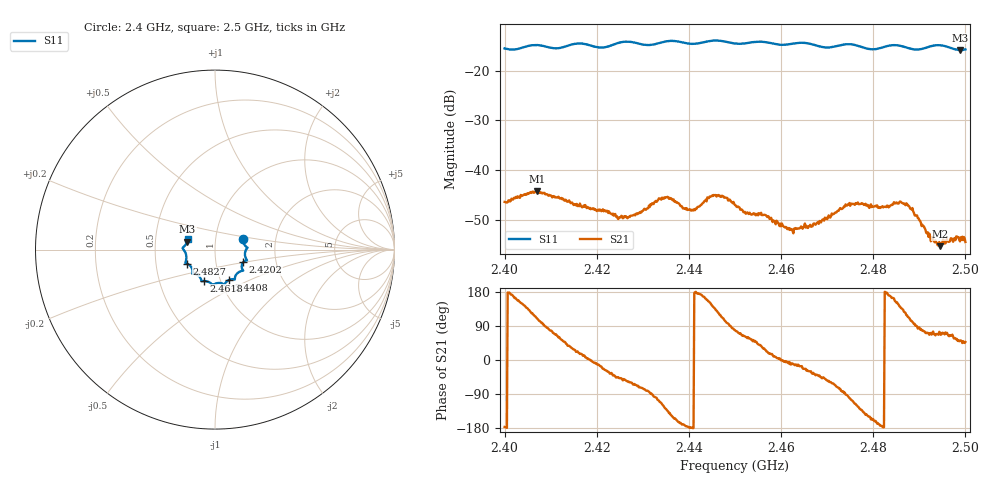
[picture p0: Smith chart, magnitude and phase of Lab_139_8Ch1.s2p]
# Hz S RI R 50
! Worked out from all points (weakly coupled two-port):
!   601 points, 2.4 GHz to 2.5 GHz, reference 50 ohm
!   highest |S21| = -44.32 dB at 2.407 GHz (marker M1); lowest = -55.4 dB at 2.4945 GHz (marker M2)
!   lowest |S11| = -15.8 dB at 2.4988 GHz (marker M3), VSWR 1.38, Z = 36.4 + j3.34 ohm
!   |S11| at or under -10 dB: start of sweep to end of sweep
!   S12 and S22 are empty: the file has one direction only
!   S11 on the Smith chart (normalised r, x): 2.4 GHz: 1.36, +0.17; 2.4202 GHz: 1.36, -0.20; 2.4408 GHz: 1.10, -0.39; 2.4618 GHz: 0.84, -0.30; 2.4827 GHz: 0.72, -0.12; 2.5 GHz: 0.73, +0.09
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2.4e9  0.156 0.0618  -0.00475 -0.000277  0 0  0 0
2.407e9  0.1811 0.0109  -0.00212 0.0057  0 0  0 0
2.411333e9  0.1667 -0.0214  0.00227 0.00475  0 0  0 0
2.416667e9  0.1783 -0.0593  0.0041 0.00118  0 0  0 0
2.420167e9  0.1571 -0.0705  0.00383 -0.00085  0 0  0 0
2.427e9  0.1565 -0.118  0.00181 -0.00284  0 0  0 0
2.433333e9  0.112 -0.152  -0.00139 -0.0048  0 0  0 0
2.435667e9  0.1107 -0.1656  -0.00393 -0.00328  0 0  0 0
2.440833e9  0.0791 -0.1689  -0.00391 -1.87e-05  0 0  0 0
2.445333e9  0.0526 -0.1943  -0.00424 0.00364  0 0  0 0
2.45e9  0.0279 -0.186  0.00085 0.00434  0 0  0 0
2.461833e9  -0.06 -0.1751  0.00247 -0.000231  0 0  0 0
2.466667e9  -0.0769 -0.1684  0.00223 -0.00157  0 0  0 0
2.474333e9  -0.1261 -0.1353  -0.000206 -0.00437  0 0  0 0
2.482667e9  -0.1572 -0.0777  -0.00424 8.85e-05  0 0  0 0
2.483333e9  -0.1613 -0.0762  -0.00413 0.000703  0 0  0 0
2.4855e9  -0.165 -0.071  -0.00381 0.00253  0 0  0 0
2.487667e9  -0.16 -0.0536  -0.00168 0.00403  0 0  0 0
2.492167e9  -0.1746 -0.00062  0.000908 0.0021  0 0  0 0
2.4945e9  -0.1803 0.00961  0.000526 0.00162  0 0  0 0
2.498833e9  -0.1551 0.0446  0.00119 0.00148  0 0  0 0
2.5e9  -0.1518 0.0616  0.00127 0.00138  0 0  0 0
